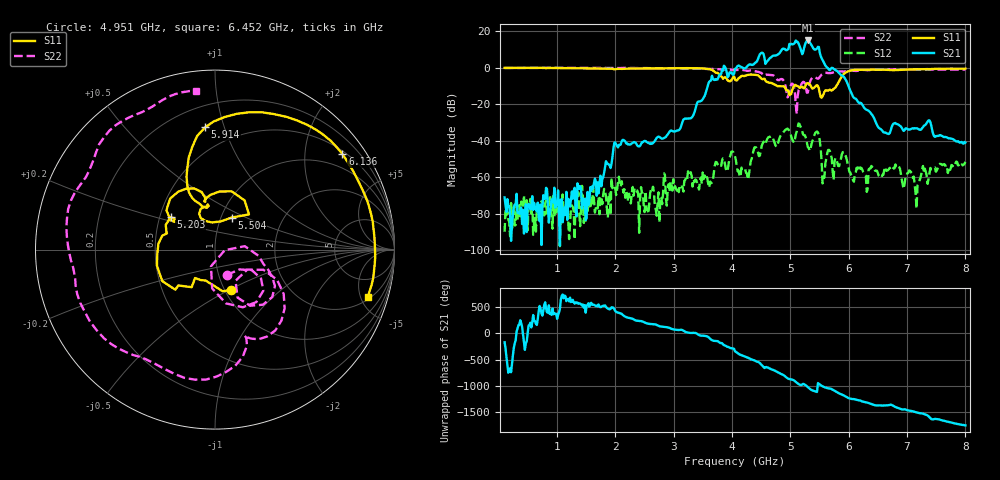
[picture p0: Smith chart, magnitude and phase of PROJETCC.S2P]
!Agilent Technologies,E5071C,MY46214845,A.10.06
!Date: Fri Jan 10 10:22:48 2025
!Data & Calibration Information:
!Freq	S11:SOLT2(ON)	S21:SOLT2(ON)	S12:SOLT2(ON)	S22:SOLT2(ON)
!PortZ  Port1:50+j0  Port2:50+j0
!Above PortZ is port z conversion or system Z0 setting when saving the data.
!When reading, reference impedance value at option line is always used.
# Hz S dB R 50
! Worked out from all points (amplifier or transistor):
!   501 points, 100 MHz to 8 GHz, reference 50 ohm
!   highest |S21| = 15.1 dB at 5.298 GHz (marker M1)
!   |S21| within 3 dB of that: 4.976 GHz to 5.155 GHz (179 MHz wide, 3.53 % of centre)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
!   unconditionally stable (mu >= 1): 115.8 MHz to 147.4 MHz; 1.834 GHz to 2.178 GHz; 2.202 GHz to end of sweep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
!   at 1.411 GHz: K = -2121.00, MSG = 5.1 dB, |S12| = -76.8 dB
!   at 4.05 GHz: K = 24.25, MAG = 7.0 dB, |S12| = -48.3 dB
!   at 8 GHz: K = 376.46, MAG = -23.5 dB, |S12| = -51.5 dB
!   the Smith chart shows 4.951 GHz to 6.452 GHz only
!   S11 on the Smith chart (normalised r, x): 4.951 GHz: 1.07, -0.51; 5.203 GHz: 0.57, +0.23; 5.504 GHz: 1.12, +0.42; 5.914 GHz: 0.34, +0.86; 6.136 GHz: 0.58, +2.90; 6.452 GHz: 2.27, -5.77
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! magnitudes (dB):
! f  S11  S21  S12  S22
! 100 MHz  0.0  -71.1  -89.8  0.0
! 1.427 GHz  -0.2  -77.2  -64.7  0.0
! 1.522 GHz  -0.2  -68.0  -78.5  0.0
! 1.996 GHz  -0.7  -40.9  -65.7  0.0
! 2.739 GHz  -0.3  -37.7  -68.2  -0.2
! 4.05 GHz  -6.4  -0.5  -48.3  -1.1
! 4.271 GHz  -3.8  1.3  -61.2  -1.6
! 4.398 GHz  -3.8  2.9  -43.5  -1.9
! 4.951 GHz  -12.3  10.0  -33.4  -16.2
! 5.203 GHz  -10.3  7.5  -34.8  -8.2
! 5.298 GHz  -8.4  15.1  -43.4  -13.5
! 5.377 GHz  -11.3  11.6  -40.1  -5.3
! 5.504 GHz  -13.9  8.4  -39.8  -5.0
! 5.567 GHz  -14.4  3.4  -60.1  -3.0
! 5.646 GHz  -12.4  -0.2  -45.0  -2.8
! 5.914 GHz  -3.3  -4.8  -46.1  -2.0
! 6.136 GHz  -1.0  -17.4  -54.8  -1.7
! 6.452 GHz  -1.0  -28.9  -56.4  -1.0
! 6.689 GHz  -1.1  -36.2  -55.4  -0.9
! 7.163 GHz  -0.7  -33.1  -77.1  -0.9
! 7.289 GHz  -0.7  -31.7  -57.1  -0.9
! 8 GHz  -0.4  -40.9  -51.5  -1.0
